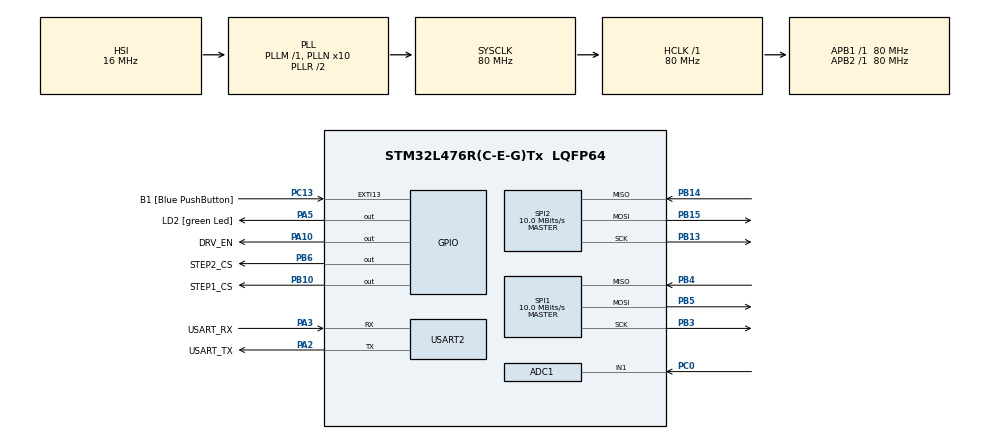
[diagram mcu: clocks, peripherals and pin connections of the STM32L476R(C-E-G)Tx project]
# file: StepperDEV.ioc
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ADC1.Channel-0\#ChannelRegularConversion=ADC_CHANNEL_1
ADC1.NbrOfConversionFlag=1
ADC1.OffsetNumber-0\#ChannelRegularConversion=ADC_OFFSET_NONE
ADC1.Rank-0\#ChannelRegularConversion=1
ADC1.SamplingTime-0\#ChannelRegularConversion=ADC_SAMPLETIME_2CYCLES_5
ADC1.master=1
Dma.Request0=USART2_RX
Dma.Request1=USART2_TX
Dma.USART2_RX.0.Direction=DMA_PERIPH_TO_MEMORY
Dma.USART2_RX.0.Instance=DMA1_Channel6
Dma.USART2_RX.0.MemDataAlignment=DMA_MDATAALIGN_BYTE
Dma.USART2_RX.0.MemInc=DMA_MINC_ENABLE
Dma.USART2_RX.0.Mode=DMA_NORMAL
Dma.USART2_RX.0.PeriphDataAlignment=DMA_PDATAALIGN_BYTE
Dma.USART2_RX.0.PeriphInc=DMA_PINC_DISABLE
Dma.USART2_RX.0.Priority=DMA_PRIORITY_LOW
Dma.USART2_TX.1.Direction=DMA_MEMORY_TO_PERIPH
Dma.USART2_TX.1.Instance=DMA1_Channel7
Dma.USART2_TX.1.MemDataAlignment=DMA_MDATAALIGN_BYTE
Dma.USART2_TX.1.MemInc=DMA_MINC_ENABLE
Dma.USART2_TX.1.Mode=DMA_NORMAL
Dma.USART2_TX.1.PeriphDataAlignment=DMA_PDATAALIGN_BYTE
Dma.USART2_TX.1.PeriphInc=DMA_PINC_DISABLE
Dma.USART2_TX.1.Priority=DMA_PRIORITY_LOW
Mcu.Family=STM32L4
Mcu.Name=STM32L476R(C-E-G)Tx
Mcu.Package=LQFP64
NVIC.DMA1_Channel6_IRQn=true\:0\:0\:false\:false\:true\:false\:true\:true
NVIC.DMA1_Channel7_IRQn=true\:0\:0\:false\:false\:true\:false\:true\:true
NVIC.EXTI15_10_IRQn=true\:0\:0\:false\:false\:true\:true\:true\:true
NVIC.PriorityGroup=NVIC_PRIORITYGROUP_4
NVIC.SPI1_IRQn=true\:0\:0\:false\:false\:true\:true\:true\:true
NVIC.SPI2_IRQn=true\:0\:0\:false\:false\:true\:true\:true\:true
NVIC.TIM1_TRG_COM_TIM17_IRQn=true\:15\:0\:false\:false\:true\:false\:true\:true
NVIC.TimeBase=TIM1_TRG_COM_TIM17_IRQn
NVIC.TimeBaseIP=TIM17
NVIC.USART2_IRQn=true\:0\:0\:false\:false\:true\:true\:true\:true
PA10.GPIO_Label=DRV_EN
PA10.PinState=GPIO_PIN_SET
PA10.Signal=GPIO_Output
PA13\ (JTMS-SWDIO).GPIO_Label=TMS
PA13\ (JTMS-SWDIO).Mode=Serial_Wire
PA13\ (JTMS-SWDIO).Signal=SYS_JTMS-SWDIO
PA14\ (JTCK-SWCLK).GPIO_Label=TCK
PA14\ (JTCK-SWCLK).Mode=Serial_Wire
PA14\ (JTCK-SWCLK).Signal=SYS_JTCK-SWCLK
PA2.GPIO_Label=USART_TX
PA2.GPIO_Mode=GPIO_MODE_AF_PP
PA2.GPIO_PuPd=GPIO_NOPULL
PA2.GPIO_Speed=GPIO_SPEED_FREQ_VERY_HIGH
PA2.Mode=Asynchronous
PA2.Signal=USART2_TX
PA3.GPIO_Label=USART_RX
PA3.GPIO_Mode=GPIO_MODE_AF_PP
PA3.GPIO_PuPd=GPIO_NOPULL
PA3.GPIO_Speed=GPIO_SPEED_FREQ_VERY_HIGH
PA3.Mode=Asynchronous
PA3.Signal=USART2_RX
PA5.GPIO_Label=LD2 [green Led]
PA5.GPIO_ModeDefaultOutputPP=GPIO_MODE_OUTPUT_PP
PA5.GPIO_PuPd=GPIO_NOPULL
PA5.GPIO_Speed=GPIO_SPEED_FREQ_LOW
PA5.Signal=GPIO_Output
PB10.GPIO_Label=STEP1_CS
PB10.PinState=GPIO_PIN_SET
PB10.Signal=GPIO_Output
PB13.Mode=Full_Duplex_Master
PB13.Signal=SPI2_SCK
PB14.Mode=Full_Duplex_Master
PB14.Signal=SPI2_MISO
PB15.Mode=Full_Duplex_Master
PB15.Signal=SPI2_MOSI
PB3\ (JTDO-TRACESWO).Mode=Full_Duplex_Master
PB3\ (JTDO-TRACESWO).Signal=SPI1_SCK
PB4\ (NJTRST).Mode=Full_Duplex_Master
PB4\ (NJTRST).Signal=SPI1_MISO
PB5.Mode=Full_Duplex_Master
PB5.Signal=SPI1_MOSI
PB6.GPIO_Label=STEP2_CS
PB6.PinState=GPIO_PIN_SET
PB6.Signal=GPIO_Output
PC0.Signal=ADCx_IN1
PC13.GPIO_Label=B1 [Blue PushButton]
PC13.GPIO_ModeDefaultEXTI=GPIO_MODE_IT_FALLING
PC13.GPIO_PuPd=GPIO_NOPULL
PC13.Signal=GPXTI13
PC14-OSC32_IN\ (PC14).Mode=LSE-External-Oscillator
PC14-OSC32_IN\ (PC14).Signal=RCC_OSC32_IN
PC15-OSC32_OUT\ (PC15).Mode=LSE-External-Oscillator
PC15-OSC32_OUT\ (PC15).Signal=RCC_OSC32_OUT
PH0-OSC_IN\ (PH0).Signal=RCC_OSC_IN
PH1-OSC_OUT\ (PH1).Signal=RCC_OSC_OUT
ProjectManager.HeapSize=0x200
ProjectManager.StackSize=0x400
ProjectManager.TargetToolchain=CMake
RCC.ADCFreq_Value=64000000
RCC.AHBFreq_Value=80000000
RCC.APB1Freq_Value=80000000
RCC.APB1TimFreq_Value=80000000
RCC.APB2Freq_Value=80000000
RCC.APB2TimFreq_Value=80000000
RCC.CortexFreq_Value=80000000
RCC.HCLKFreq_Value=80000000
RCC.HSE_VALUE=8000000
RCC.HSI_VALUE=16000000
RCC.MSI_VALUE=4000000
RCC.PLLN=10
RCC.PLLSourceVirtual=RCC_PLLSOURCE_HSI
RCC.PREFETCH_ENABLE=1
RCC.SYSCLKFreq_VALUE=80000000
RCC.SYSCLKSource=RCC_SYSCLKSOURCE_PLLCLK
RCC.USBFreq_Value=64000000
RCC.VCOOutputFreq_Value=160000000
SH.ADCx_IN1.0=ADC1_IN1,IN1-Single-Ended
SPI1.BaudRatePrescaler=SPI_BAUDRATEPRESCALER_8
SPI1.CLKPhase=SPI_PHASE_2EDGE
SPI1.CLKPolarity=SPI_POLARITY_HIGH
SPI1.CalculateBaudRate=10.0 MBits/s
SPI1.DataSize=SPI_DATASIZE_8BIT
SPI1.Direction=SPI_DIRECTION_2LINES
SPI1.Mode=SPI_MODE_MASTER
SPI1.VirtualType=VM_MASTER
SPI2.BaudRatePrescaler=SPI_BAUDRATEPRESCALER_8
SPI2.CLKPhase=SPI_PHASE_2EDGE
SPI2.CLKPolarity=SPI_POLARITY_HIGH
SPI2.CalculateBaudRate=10.0 MBits/s
SPI2.DataSize=SPI_DATASIZE_8BIT
SPI2.Direction=SPI_DIRECTION_2LINES
SPI2.FirstBit=SPI_FIRSTBIT_MSB
SPI2.Mode=SPI_MODE_MASTER
SPI2.VirtualType=VM_MASTER
USART2.VirtualMode-Asynchronous=VM_ASYNC
VP_CRC_VS_CRC.Mode=CRC_Activate
VP_SYS_VS_tim17.Mode=TIM17
board=NUCLEO-L476RG

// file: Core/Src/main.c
/* USER CODE BEGIN Header */
/**
  ******************************************************************************
  * @file           : main.c
  * @brief          : Main program body
  ******************************************************************************
  * @attention
  *
  * Copyright (c) 2025 STMicroelectronics.
  * All rights reserved.
  *
  * This software is licensed under terms that can be found in the LICENSE file
  * in the root directory of this software component.
  * If no LICENSE file comes with this software, it is provided AS-IS.
  *
  ******************************************************************************
  */
/* USER CODE END Header */
#include "main.h"

/* USER CODE BEGIN Includes */
#include "logging.h"
#include "stepper.h"
#include "stepper_config.h"
#include <stdio.h>
#include <stdbool.h>
#include <util.h>

#include "tmc5240_driver.h"
/* USER CODE END Includes */

ADC_HandleTypeDef hadc1;

CRC_HandleTypeDef hcrc;

SPI_HandleTypeDef hspi1;
SPI_HandleTypeDef hspi2;

UART_HandleTypeDef huart2;
DMA_HandleTypeDef hdma_usart2_rx;
DMA_HandleTypeDef hdma_usart2_tx;

/* USER CODE BEGIN PV */

static bool motorEnabled = false;

/* USER CODE END PV */

void SystemClock_Config(void);
static void MX_GPIO_Init(void);
static void MX_DMA_Init(void);
static void MX_ADC1_Init(void);
static void MX_CRC_Init(void);
static void MX_USART2_UART_Init(void);
static void MX_SPI1_Init(void);
static void MX_SPI2_Init(void);

/* USER CODE BEGIN 0 */

  Stepper *s0 = NULL;
  Stepper *s1 = NULL;

  StepperGroup *z_axis = NULL;

/* USER CODE END 0 */

int main(void)
{

  /* MCU Configuration--------------------------------------------------------*/

  /* Reset of all peripherals, Initializes the Flash interface and the Systick. */
  HAL_Init();

  /* Configure the system clock */
  SystemClock_Config();

  /* Initialize all configured peripherals */
  MX_GPIO_Init();
  MX_DMA_Init();
  MX_ADC1_Init();
  MX_CRC_Init();
  MX_USART2_UART_Init();
  MX_SPI1_Init();
  MX_SPI2_Init();
  /* USER CODE BEGIN 2 */
  DWT_Init();
  init_dma_logging();
  printf("\033c");
  printf("Duvitech Stepper Demo\r\n\r\n");
  printf("CPU Clock Frequency: %lu MHz\r\n", HAL_RCC_GetSysClockFreq() / 1000000);

  /* Initialize stepper motors using the abstracted API */
  printf("Initializing steppers via stepper API...\r\n");
  stepper_config_init();

  /* Print register configurations using stepper API */

  s0 = stepper_config_get_stepper(STEPPER_0);
  s1 = stepper_config_get_stepper(STEPPER_1);

  z_axis = stepper_config_get_group();

  stepper_config_print_registers(s0);
  stepper_config_print_registers(s1);

  stepper_enable(s0, true);
  stepper_enable(s1, true);

  motorEnabled = true;

  printf("Entering Main LOOP.\r\n\r\n");
  /* USER CODE END 2 */

  /* Infinite loop */
  while (1)
  {

    /* USER CODE BEGIN 3 */
    HAL_Delay(100);
    HAL_GPIO_TogglePin(LD2_GPIO_Port, LD2_Pin);
  }
  /* USER CODE END 3 */
}

void SystemClock_Config(void)
{
  RCC_OscInitTypeDef RCC_OscInitStruct = {0};
  RCC_ClkInitTypeDef RCC_ClkInitStruct = {0};

  /** Configure the main internal regulator output voltage
  */
  if (HAL_PWREx_ControlVoltageScaling(PWR_REGULATOR_VOLTAGE_SCALE1) != HAL_OK)
  {
    Error_Handler();
  }

  /** Initializes the RCC Oscillators according to the specified parameters
  * in the RCC_OscInitTypeDef structure.
  */
  RCC_OscInitStruct.OscillatorType = RCC_OSCILLATORTYPE_HSI;
  RCC_OscInitStruct.HSIState = RCC_HSI_ON;
  RCC_OscInitStruct.HSICalibrationValue = RCC_HSICALIBRATION_DEFAULT;
  RCC_OscInitStruct.PLL.PLLState = RCC_PLL_ON;
  RCC_OscInitStruct.PLL.PLLSource = RCC_PLLSOURCE_HSI;
  RCC_OscInitStruct.PLL.PLLM = 1;
  RCC_OscInitStruct.PLL.PLLN = 10;
  RCC_OscInitStruct.PLL.PLLP = RCC_PLLP_DIV7;
  RCC_OscInitStruct.PLL.PLLQ = RCC_PLLQ_DIV2;
  RCC_OscInitStruct.PLL.PLLR = RCC_PLLR_DIV2;
  if (HAL_RCC_OscConfig(&RCC_OscInitStruct) != HAL_OK)
  {
    Error_Handler();
  }

  /** Initializes the CPU, AHB and APB buses clocks
  */
  RCC_ClkInitStruct.ClockType = RCC_CLOCKTYPE_HCLK|RCC_CLOCKTYPE_SYSCLK
                              |RCC_CLOCKTYPE_PCLK1|RCC_CLOCKTYPE_PCLK2;
  RCC_ClkInitStruct.SYSCLKSource = RCC_SYSCLKSOURCE_PLLCLK;
  RCC_ClkInitStruct.AHBCLKDivider = RCC_SYSCLK_DIV1;
  RCC_ClkInitStruct.APB1CLKDivider = RCC_HCLK_DIV1;
  RCC_ClkInitStruct.APB2CLKDivider = RCC_HCLK_DIV1;

  if (HAL_RCC_ClockConfig(&RCC_ClkInitStruct, FLASH_LATENCY_4) != HAL_OK)
  {
    Error_Handler();
  }
}

static void MX_ADC1_Init(void)
{

  ADC_MultiModeTypeDef multimode = {0};
  ADC_ChannelConfTypeDef sConfig = {0};

  /** Common config
  */
  hadc1.Instance = ADC1;
  hadc1.Init.ClockPrescaler = ADC_CLOCK_ASYNC_DIV1;
  hadc1.Init.Resolution = ADC_RESOLUTION_12B;
  hadc1.Init.DataAlign = ADC_DATAALIGN_RIGHT;
  hadc1.Init.ScanConvMode = ADC_SCAN_DISABLE;
  hadc1.Init.EOCSelection = ADC_EOC_SINGLE_CONV;
  hadc1.Init.LowPowerAutoWait = DISABLE;
  hadc1.Init.ContinuousConvMode = DISABLE;
  hadc1.Init.NbrOfConversion = 1;
  hadc1.Init.DiscontinuousConvMode = DISABLE;
  hadc1.Init.ExternalTrigConv = ADC_SOFTWARE_START;
  hadc1.Init.ExternalTrigConvEdge = ADC_EXTERNALTRIGCONVEDGE_NONE;
  hadc1.Init.DMAContinuousRequests = DISABLE;
  hadc1.Init.Overrun = ADC_OVR_DATA_PRESERVED;
  hadc1.Init.OversamplingMode = DISABLE;
  if (HAL_ADC_Init(&hadc1) != HAL_OK)
  {
    Error_Handler();
  }

  /** Configure the ADC multi-mode
  */
  multimode.Mode = ADC_MODE_INDEPENDENT;
  if (HAL_ADCEx_MultiModeConfigChannel(&hadc1, &multimode) != HAL_OK)
  {
    Error_Handler();
  }

  /** Configure Regular Channel
  */
  sConfig.Channel = ADC_CHANNEL_1;
  sConfig.Rank = ADC_REGULAR_RANK_1;
  sConfig.SamplingTime = ADC_SAMPLETIME_2CYCLES_5;
  sConfig.SingleDiff = ADC_SINGLE_ENDED;
  sConfig.OffsetNumber = ADC_OFFSET_NONE;
  sConfig.Offset = 0;
  if (HAL_ADC_ConfigChannel(&hadc1, &sConfig) != HAL_OK)
  {
    Error_Handler();
  }

}

static void MX_CRC_Init(void)
{

  hcrc.Instance = CRC;
  hcrc.Init.DefaultPolynomialUse = DEFAULT_POLYNOMIAL_ENABLE;
  hcrc.Init.DefaultInitValueUse = DEFAULT_INIT_VALUE_ENABLE;
  hcrc.Init.InputDataInversionMode = CRC_INPUTDATA_INVERSION_NONE;
  hcrc.Init.OutputDataInversionMode = CRC_OUTPUTDATA_INVERSION_DISABLE;
  hcrc.InputDataFormat = CRC_INPUTDATA_FORMAT_BYTES;
  if (HAL_CRC_Init(&hcrc) != HAL_OK)
  {
    Error_Handler();
  }

}

static void MX_SPI1_Init(void)
{

  /* SPI1 parameter configuration*/
  hspi1.Instance = SPI1;
  hspi1.Init.Mode = SPI_MODE_MASTER;
  hspi1.Init.Direction = SPI_DIRECTION_2LINES;
  hspi1.Init.DataSize = SPI_DATASIZE_8BIT;
  hspi1.Init.CLKPolarity = SPI_POLARITY_HIGH;
  hspi1.Init.CLKPhase = SPI_PHASE_2EDGE;
  hspi1.Init.NSS = SPI_NSS_SOFT;
  hspi1.Init.BaudRatePrescaler = SPI_BAUDRATEPRESCALER_8;
  hspi1.Init.FirstBit = SPI_FIRSTBIT_MSB;
  hspi1.Init.TIMode = SPI_TIMODE_DISABLE;
  hspi1.Init.CRCCalculation = SPI_CRCCALCULATION_DISABLE;
  hspi1.Init.CRCPolynomial = 7;
  hspi1.Init.CRCLength = SPI_CRC_LENGTH_DATASIZE;
  hspi1.Init.NSSPMode = SPI_NSS_PULSE_DISABLE;
  if (HAL_SPI_Init(&hspi1) != HAL_OK)
  {
    Error_Handler();
  }

}

static void MX_SPI2_Init(void)
{

  /* SPI2 parameter configuration*/
  hspi2.Instance = SPI2;
  hspi2.Init.Mode = SPI_MODE_MASTER;
  hspi2.Init.Direction = SPI_DIRECTION_2LINES;
  hspi2.Init.DataSize = SPI_DATASIZE_8BIT;
  hspi2.Init.CLKPolarity = SPI_POLARITY_HIGH;
  hspi2.Init.CLKPhase = SPI_PHASE_2EDGE;
  hspi2.Init.NSS = SPI_NSS_SOFT;
  hspi2.Init.BaudRatePrescaler = SPI_BAUDRATEPRESCALER_8;
  hspi2.Init.FirstBit = SPI_FIRSTBIT_MSB;
  hspi2.Init.TIMode = SPI_TIMODE_DISABLE;
  hspi2.Init.CRCCalculation = SPI_CRCCALCULATION_DISABLE;
  hspi2.Init.CRCPolynomial = 7;
  hspi2.Init.CRCLength = SPI_CRC_LENGTH_DATASIZE;
  hspi2.Init.NSSPMode = SPI_NSS_PULSE_DISABLE;
  if (HAL_SPI_Init(&hspi2) != HAL_OK)
  {
    Error_Handler();
  }

}

static void MX_USART2_UART_Init(void)
{

  huart2.Instance = USART2;
  huart2.Init.BaudRate = 115200;
  huart2.Init.WordLength = UART_WORDLENGTH_8B;
  huart2.Init.StopBits = UART_STOPBITS_1;
  huart2.Init.Parity = UART_PARITY_NONE;
  huart2.Init.Mode = UART_MODE_TX_RX;
  huart2.Init.HwFlowCtl = UART_HWCONTROL_NONE;
  huart2.Init.OverSampling = UART_OVERSAMPLING_16;
  huart2.Init.OneBitSampling = UART_ONE_BIT_SAMPLE_DISABLE;
  huart2.AdvancedInit.AdvFeatureInit = UART_ADVFEATURE_NO_INIT;
  if (HAL_UART_Init(&huart2) != HAL_OK)
  {
    Error_Handler();
  }

}

static void MX_DMA_Init(void)
{

  /* DMA controller clock enable */
  __HAL_RCC_DMA1_CLK_ENABLE();

  /* DMA interrupt init */
  /* DMA1_Channel6_IRQn interrupt configuration */
  HAL_NVIC_SetPriority(DMA1_Channel6_IRQn, 0, 0);
  HAL_NVIC_EnableIRQ(DMA1_Channel6_IRQn);
  /* DMA1_Channel7_IRQn interrupt configuration */
  HAL_NVIC_SetPriority(DMA1_Channel7_IRQn, 0, 0);
  HAL_NVIC_EnableIRQ(DMA1_Channel7_IRQn);

}

static void MX_GPIO_Init(void)
{
  GPIO_InitTypeDef GPIO_InitStruct = {0};

  /* GPIO Ports Clock Enable */
  __HAL_RCC_GPIOC_CLK_ENABLE();
  __HAL_RCC_GPIOH_CLK_ENABLE();
  __HAL_RCC_GPIOA_CLK_ENABLE();
  __HAL_RCC_GPIOB_CLK_ENABLE();

  /*Configure GPIO pin Output Level */
  HAL_GPIO_WritePin(LD2_GPIO_Port, LD2_Pin, GPIO_PIN_RESET);

  /*Configure GPIO pin Output Level */
  HAL_GPIO_WritePin(GPIOB, STEP1_CS_Pin|STEP2_CS_Pin, GPIO_PIN_SET);

  /*Configure GPIO pin Output Level */
  HAL_GPIO_WritePin(DRV_EN_GPIO_Port, DRV_EN_Pin, GPIO_PIN_SET);

  /*Configure GPIO pin : B1_Pin */
  GPIO_InitStruct.Pin = B1_Pin;
  GPIO_InitStruct.Mode = GPIO_MODE_IT_FALLING;
  GPIO_InitStruct.Pull = GPIO_NOPULL;
  HAL_GPIO_Init(B1_GPIO_Port, &GPIO_InitStruct);

  /*Configure GPIO pins : LD2_Pin DRV_EN_Pin */
  GPIO_InitStruct.Pin = LD2_Pin|DRV_EN_Pin;
  GPIO_InitStruct.Mode = GPIO_MODE_OUTPUT_PP;
  GPIO_InitStruct.Pull = GPIO_NOPULL;
  GPIO_InitStruct.Speed = GPIO_SPEED_FREQ_LOW;
  HAL_GPIO_Init(GPIOA, &GPIO_InitStruct);

  /*Configure GPIO pins : STEP1_CS_Pin STEP2_CS_Pin */
  GPIO_InitStruct.Pin = STEP1_CS_Pin|STEP2_CS_Pin;
  GPIO_InitStruct.Mode = GPIO_MODE_OUTPUT_PP;
  GPIO_InitStruct.Pull = GPIO_NOPULL;
  GPIO_InitStruct.Speed = GPIO_SPEED_FREQ_LOW;
  HAL_GPIO_Init(GPIOB, &GPIO_InitStruct);

  /* EXTI interrupt init*/
  HAL_NVIC_SetPriority(EXTI15_10_IRQn, 0, 0);
  HAL_NVIC_EnableIRQ(EXTI15_10_IRQn);

}

/* USER CODE BEGIN 4 */
void HAL_UART_RxCpltCallback(UART_HandleTypeDef *huart)
{

}

void HAL_UART_TxCpltCallback(UART_HandleTypeDef *huart)
{
	if(huart->Instance == USART2)
	{
		logging_UART_TxCpltCallback(huart);
	}
}

void HAL_GPIO_EXTI_Callback(uint16_t GPIO_Pin)
{
  if(GPIO_Pin == B1_Pin)
  {
    if(motorEnabled)
    {

      int32_t curr_pos = stepper_get_position(s0);
      if(curr_pos < 2000) curr_pos = 0;
#if 1
      stepper_group_move_to(z_axis, curr_pos + 2000);
      printf("Stepper group: all moving +2000 ");

      /* Simulate group move to apprximate timing*/
      /*
      stepper_move_to_position(s0, curr_pos + 2000);
      uint32_t s0_complete_time = DWT->CYCCNT;
      stepper_move_to_position(s1, curr_pos + 2000);
      uint32_t s1_complete_time = DWT->CYCCNT;

      printf("Stepper group: all moving +2000 steps synchronously\r\n");

      uint32_t delay_ticks = (s1_complete_time > s0_complete_time) ?
                          (s1_complete_time - s0_complete_time) :
                          (s0_complete_time - s1_complete_time);
      uint32_t cycles_per_us = SystemCoreClock / 1000000;
      uint32_t delay_us = delay_ticks / cycles_per_us;
      printf("Both motors completed. Delay between start: %lu us\r\n", delay_us);  // 64 uS
      */

#else
      // TMC5240_MODE_HOLD;
      tmc5240_writeRegister(((TMC5240_Context *)s0->hw_context)->icID, TMC5240_RAMPMODE, TMC5240_MODE_HOLD);
      tmc5240_writeRegister(((TMC5240_Context *)s1->hw_context)->icID, TMC5240_RAMPMODE, TMC5240_MODE_HOLD);

      tmc5240_writeRegister(((TMC5240_Context *)s0->hw_context)->icID, TMC5240_XACTUAL, curr_pos + 2000);       // TMC5240_XACTUAL
      tmc5240_writeRegister(((TMC5240_Context *)s1->hw_context)->icID, TMC5240_XACTUAL, curr_pos + 2000);       // TMC5240_XACTUAL

      uint8_t data[5] = { 0 };

      data[0] = TMC5240_RAMPMODE | TMC5240_WRITE_BIT;
      data[1] = 0xFF & (TMC5240_MODE_POSITION>>24);
      data[2] = 0xFF & (TMC5240_MODE_POSITION>>16);
      data[3] = 0xFF & (TMC5240_MODE_POSITION>>8);
      data[4] = 0xFF & (TMC5240_MODE_POSITION>>0);

      tmc5240_fast_writeSPI(((TMC5240_Context *)s0->hw_context)->icID, &data[0], 5);
      uint32_t s0_complete_time = DWT->CYCCNT;
      tmc5240_fast_writeSPI(((TMC5240_Context *)s1->hw_context)->icID, &data[0], 5);
      uint32_t s1_complete_time = DWT->CYCCNT;

      printf("Stepper group: all moving +2000 steps synchronously\r\n");

      uint32_t delay_ticks = (s1_complete_time > s0_complete_time) ?
                          (s1_complete_time - s0_complete_time) :
                          (s0_complete_time - s1_complete_time);
      uint32_t cycles_per_us = SystemCoreClock / 1000000;
      uint32_t delay_us = delay_ticks / cycles_per_us;
      printf("Both motors completed. Delay between start: %lu us\r\n", delay_us);  // 31 uS std read/write 22 uS with fast write

#endif
    }
  }
}

/* USER CODE END 4 */

void HAL_TIM_PeriodElapsedCallback(TIM_HandleTypeDef *htim)
{
  if (htim->Instance == TIM17)
  {
    HAL_IncTick();
  }
}

void Error_Handler(void)
{
  __disable_irq();
  while (1)
  {
  }
}
